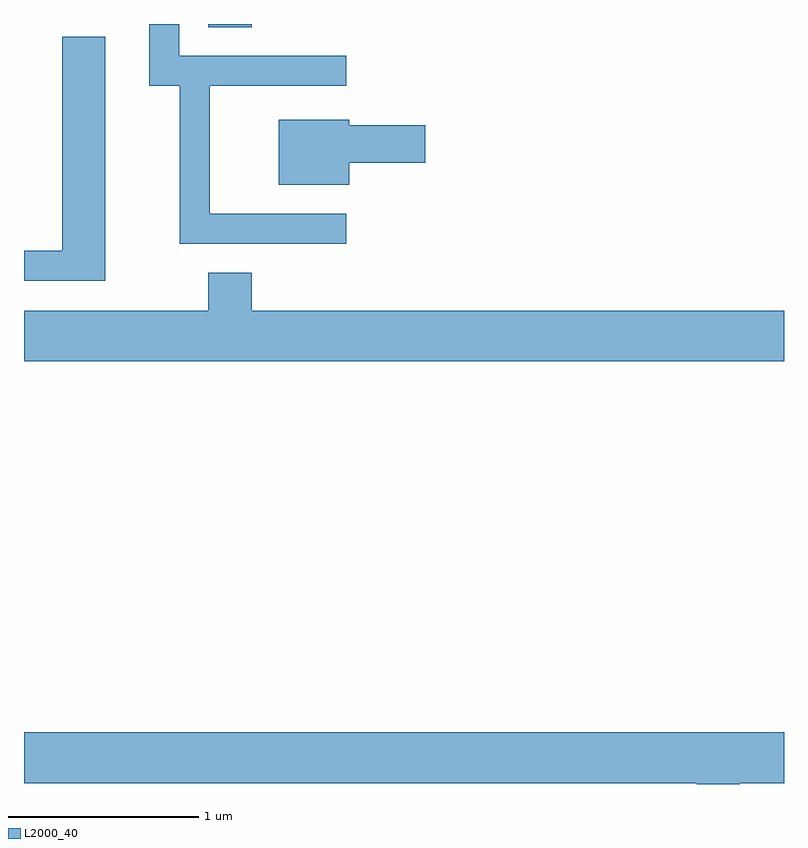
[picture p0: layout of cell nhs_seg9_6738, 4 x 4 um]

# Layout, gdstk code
import gdstk
lib = gdstk.Library(unit=1e-6, precision=1e-09)
def R(c, l, rs):  # rectangles x0, y0, x1, y1
    for r in rs: c.add(gdstk.rectangle(r[:2], r[2:], *l))
def P(c, l, *ps):  # polygons
    for p in ps: c.add(gdstk.Polygon(p, *l))
L2000_40 = (2000, 40)

nhs_seg9_6738 = lib.new_cell('nhs_seg9_6738')
R(nhs_seg9_6738, L2000_40, [(384.581,2042.416,384.809,2042.432)])
P(nhs_seg9_6738, L2000_40, [(385.308,2041.434),(384.589,2041.434),(384.589,2042.106),(385.308,2042.106),(385.308,2042.264),(384.429,2042.264),(384.429,2042.432),(384.271,2042.432),(384.271,2042.106),(384.431,2042.106),(384.431,2041.276),(385.308,2041.276)],
  [(384.039,2042.364),(383.811,2042.364),(383.811,2041.239),(383.611,2041.239),(383.611,2041.081),(384.039,2041.081)],
  [(385.324,2041.701),(385.724,2041.701),(385.724,2041.899),(385.324,2041.899),(385.324,2041.929),(384.951,2041.929),(384.951,2041.586),(385.324,2041.586)],
  [(387.611,2040.924),(384.809,2040.924),(384.809,2041.124),(384.581,2041.124),(384.581,2040.924),(383.611,2040.924),(383.611,2040.656),(387.611,2040.656)],
  [(387.379,2038.436),(387.611,2038.436),(387.611,2038.704),(383.611,2038.704),(383.611,2038.436),(387.151,2038.436),(387.151,2038.432),(387.379,2038.432)])

lib.write_gds('nhs_seg9_6738.gds')
